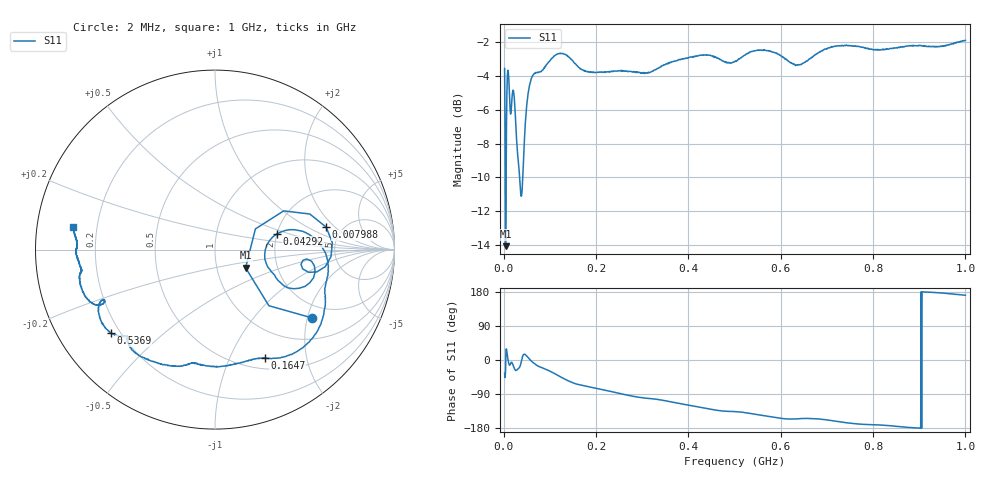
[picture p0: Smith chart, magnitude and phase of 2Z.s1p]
!Keysight Technologies N9923A: A.08.19
!Date: Thursday, 16 January 2020 11:30:00
!TimeZone: (GMT-03:00) Brasilia!Model: N9923A
!Serial: MY51491501
!GPS Latitude:
!GPS Longitude:
!GPS TimeStamp: 0001-01-01 00:00:00Z
!GPS Seconds Since Last Read: 0
!CHECKSUM:1078980270
!Correction: S11(ON U)
!S1P File: Measurement: S11:
# Hz S DB R 50
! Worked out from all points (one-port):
!   1001 points, 2 MHz to 1 GHz, reference 50 ohm
!   lowest |S11| = -14.1 dB at 3.996 MHz (marker M1), VSWR 1.49, Z = 68.8 - j14.5 ohm
!   |S11| at or under -10 dB: 3.4 MHz to 5.398 MHz (1.998 MHz wide, 45.4 % of centre); 34.47 MHz to 41.33 MHz (6.866 MHz wide, 18.1 % of centre)
!   S11 on the Smith chart (normalised r, x): 2 MHz: 1.58, -2.15; 7.988 MHz: 3.74, +1.56; 42.92 MHz: 2.00, +0.40; 164.7 MHz: 0.63, -1.36; 536.9 MHz: 0.16, -0.34; 1 GHz: 0.11, +0.08
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2000000  -3.57 -35.1
3996000  -14.06 -30.7
7988000  -3.99 11.4
9984000  -3.78 -3.4
1.2978e7  -5.39 -13.6
2.196e7  -5.04 -19.2
2.695e7  -7.28 -27.7
3.5932e7  -10.60 -14.9
3.8926e7  -11.05 -0.3
4.2918e7  -8.98 14.2
4.691e7  -6.79 14.0
5.19e7  -5.27 7.7
6.3876e7  -3.96 -7.1
1.03796e8  -3.00 -31.8
1.2675e8  -2.69 -46.9
1.42718e8  -2.92 -56.5
1.64674e8  -3.55 -65.4
2.515e8  -3.70 -88.4
3.7625e8  -3.10 -113.7
4.511e8  -2.83 -130.4
5.01e8  -3.16 -136.0
5.36928e8  -2.57 -141.5
5.86828e8  -2.63 -151.4
6.2575e8  -3.28 -155.9
6.82636e8  -2.62 -155.7
7.505e8  -2.22 -166.7
8.7525e8  -2.24 -177.7
1e9  -1.92 170.8
